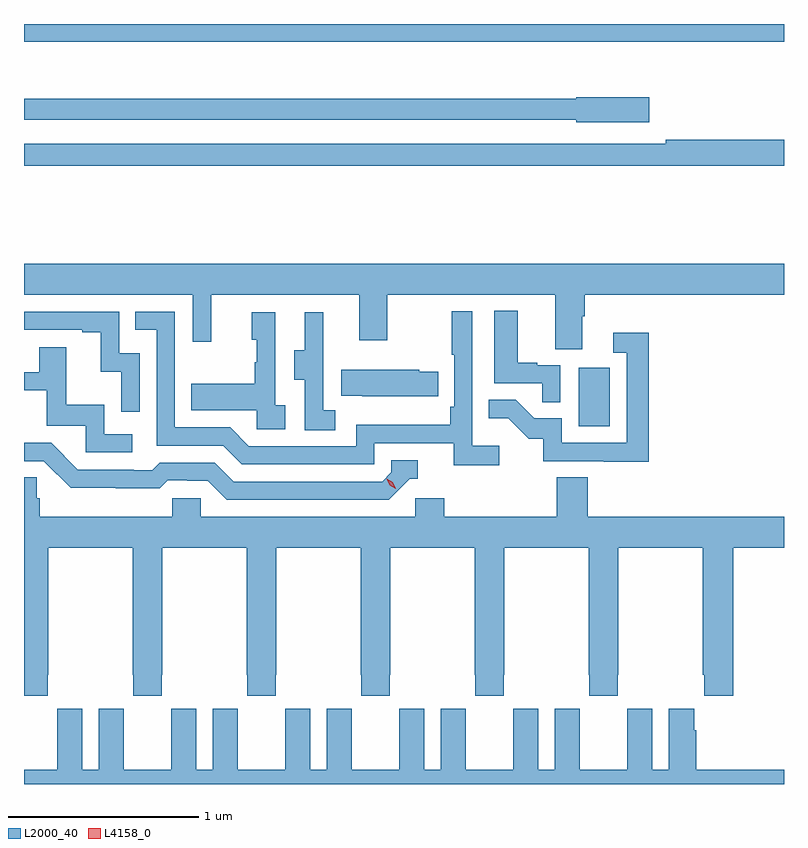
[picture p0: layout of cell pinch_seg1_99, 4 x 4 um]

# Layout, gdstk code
import gdstk
lib = gdstk.Library(unit=1e-6, precision=1e-09)
def R(c, l, rs):  # rectangles x0, y0, x1, y1
    for r in rs: c.add(gdstk.rectangle(r[:2], r[2:], *l))
def P(c, l, *ps):  # polygons
    for p in ps: c.add(gdstk.Polygon(p, *l))
L2000_40 = (2000, 40)
L4158_0 = (4158, 0)

pinch_seg1_99 = lib.new_cell('pinch_seg1_99')
R(pinch_seg1_99, L2000_40, [(1049.588,544.38,1049.752,544.687), (1046.668,546.404,1050.668,546.497)])
P(pinch_seg1_99, L2000_40, [(1049.959,546.111),(1049.574,546.111),(1049.574,546.103),(1046.668,546.103),(1046.668,545.994),(1049.574,545.994),(1049.574,545.981),(1049.959,545.981)],
  [(1050.668,545.888),(1050.046,545.888),(1050.046,545.868),(1046.668,545.868),(1046.668,545.752),(1050.668,545.752)],
  [(1049.605,544.96),(1049.618,544.96),(1049.618,545.072),(1050.668,545.072),(1050.668,545.236),(1046.668,545.236),(1046.668,545.072),(1047.555,545.072),(1047.555,544.824),(1047.653,544.824),(1047.653,545.072),(1048.433,545.072),(1048.433,544.833),(1048.581,544.833),(1048.581,545.072),(1049.465,545.072),(1049.465,544.786),(1049.605,544.786)],
  [(1049.49,544.701),(1049.369,544.701),(1049.369,544.714),(1049.266,544.714),(1049.266,544.987),(1049.144,544.987),(1049.144,544.605),(1049.395,544.605),(1049.395,544.507),(1049.49,544.507)],
  [(1049.17,544.276),(1049.028,544.276),(1049.028,544.984),(1048.92,544.984),(1048.92,544.756),(1048.932,544.756),(1048.932,544.483),(1048.912,544.483),(1048.912,544.387),(1048.416,544.387),(1048.416,544.275),(1047.852,544.275),(1047.753,544.374),(1047.462,544.374),(1047.462,544.983),(1047.253,544.983),(1047.253,544.887),(1047.366,544.887),(1047.366,544.278),(1047.716,544.278),(1047.815,544.179),(1048.512,544.179),(1048.512,544.29),(1048.931,544.29),(1048.931,544.174),(1049.17,544.174)],
  [(1047.276,544.764),(1047.168,544.764),(1047.168,544.983),(1046.668,544.983),(1046.668,544.887),(1046.975,544.887),(1046.975,544.875),(1047.071,544.875),(1047.071,544.667),(1047.18,544.667),(1047.18,544.455),(1047.276,544.455)],
  [(1048.042,544.49),(1047.99,544.49),(1047.99,544.981),(1047.866,544.981),(1047.866,544.836),(1047.892,544.836),(1047.892,544.718),(1047.882,544.718),(1047.882,544.603),(1047.547,544.603),(1047.547,544.463),(1047.894,544.463),(1047.894,544.365),(1048.042,544.365)],
  [(1048.305,544.463),(1048.242,544.463),(1048.242,544.767),(1048.244,544.767),(1048.244,544.981),(1048.145,544.981),(1048.145,544.779),(1048.091,544.779),(1048.091,544.624),(1048.146,544.624),(1048.146,544.36),(1048.305,544.36)],
  [(1049.957,544.873),(1049.769,544.873),(1049.769,544.767),(1049.841,544.767),(1049.841,544.293),(1049.499,544.293),(1049.499,544.422),(1049.354,544.422),(1049.256,544.52),(1049.113,544.52),(1049.113,544.421),(1049.217,544.421),(1049.324,544.314),(1049.401,544.314),(1049.401,544.197),(1049.719,544.197),(1049.719,544.192),(1049.957,544.192)],
  [(1047.238,544.338),(1047.09,544.338),(1047.09,544.492),(1046.891,544.492),(1046.891,544.795),(1046.747,544.795),(1046.747,544.665),(1046.668,544.665),(1046.668,544.569),(1046.789,544.569),(1046.789,544.383),(1046.994,544.383),(1046.994,544.242),(1047.238,544.242)],
  [(1048.847,544.668),(1048.749,544.668),(1048.749,544.678),(1048.339,544.678),(1048.339,544.541),(1048.447,544.541),(1048.447,544.538),(1048.847,544.538)],
  [(1048.698,544.104),(1048.741,544.104),(1048.741,544.2),(1048.602,544.2),(1048.602,544.137),(1048.554,544.089),(1047.771,544.089),(1047.672,544.188),(1047.383,544.188),(1047.344,544.149),(1047.245,544.149),(1047.245,544.152),(1046.952,544.152),(1046.811,544.293),(1046.668,544.293),(1046.668,544.197),(1046.772,544.197),(1046.914,544.055),(1047.15,544.055),(1047.15,544.053),(1047.383,544.053),(1047.425,544.095),(1047.528,544.095),(1047.528,544.092),(1047.635,544.092),(1047.734,543.993),(1048.587,543.993)],
  [(1046.793,543.073),(1046.796,543.073),(1046.796,543.74),(1047.241,543.74),(1047.241,543.073),(1047.243,543.073),(1047.243,542.961),(1047.393,542.961),(1047.393,543.073),(1047.396,543.073),(1047.396,543.74),(1047.841,543.74),(1047.841,543.073),(1047.843,543.073),(1047.843,542.961),(1047.993,542.961),(1047.993,543.073),(1047.996,543.073),(1047.996,543.74),(1048.441,543.74),(1048.441,543.073),(1048.443,543.073),(1048.443,542.961),(1048.593,542.961),(1048.593,543.073),(1048.596,543.073),(1048.596,543.74),(1049.041,543.74),(1049.041,543.073),(1049.043,543.073),(1049.043,542.961),(1049.193,542.961),(1049.193,543.073),(1049.196,543.073),(1049.196,543.74),(1049.641,543.74),(1049.641,543.073),(1049.643,543.073),(1049.643,542.961),(1049.793,542.961),(1049.793,543.073),(1049.796,543.073),(1049.796,543.74),(1050.241,543.74),(1050.241,543.073),(1050.247,543.073),(1050.247,542.961),(1050.401,542.961),(1050.401,543.74),(1050.668,543.74),(1050.668,543.904),(1049.636,543.904),(1049.636,544.112),(1049.471,544.112),(1049.471,543.904),(1048.88,543.904),(1048.88,544.002),(1048.728,544.002),(1048.728,543.904),(1047.597,543.904),(1047.597,544.002),(1047.447,544.002),(1047.447,543.904),(1046.75,543.904),(1046.75,544.002),(1046.735,544.002),(1046.735,544.112),(1046.668,544.112),(1046.668,542.961),(1046.793,542.961)],
  [(1050.668,542.572),(1050.206,542.572),(1050.206,542.78),(1050.196,542.78),(1050.196,542.893),(1050.062,542.893),(1050.062,542.572),(1049.974,542.572),(1049.974,542.893),(1049.844,542.893),(1049.844,542.78),(1049.843,542.78),(1049.843,542.572),(1049.593,542.572),(1049.593,542.78),(1049.592,542.78),(1049.592,542.893),(1049.462,542.893),(1049.462,542.572),(1049.374,542.572),(1049.374,542.893),(1049.244,542.893),(1049.244,542.78),(1049.243,542.78),(1049.243,542.572),(1048.993,542.572),(1048.993,542.78),(1048.992,542.78),(1048.992,542.893),(1048.862,542.893),(1048.862,542.572),(1048.774,542.572),(1048.774,542.893),(1048.644,542.893),(1048.644,542.78),(1048.643,542.78),(1048.643,542.572),(1048.393,542.572),(1048.393,542.78),(1048.392,542.78),(1048.392,542.893),(1048.262,542.893),(1048.262,542.572),(1048.174,542.572),(1048.174,542.893),(1048.044,542.893),(1048.044,542.78),(1048.043,542.78),(1048.043,542.572),(1047.793,542.572),(1047.793,542.78),(1047.792,542.78),(1047.792,542.893),(1047.662,542.893),(1047.662,542.572),(1047.574,542.572),(1047.574,542.893),(1047.444,542.893),(1047.444,542.78),(1047.443,542.78),(1047.443,542.572),(1047.193,542.572),(1047.193,542.78),(1047.192,542.78),(1047.192,542.893),(1047.062,542.893),(1047.062,542.572),(1046.974,542.572),(1046.974,542.893),(1046.844,542.893),(1046.844,542.78),(1046.843,542.78),(1046.843,542.572),(1046.668,542.572),(1046.668,542.497),(1050.668,542.497)])
P(pinch_seg1_99, L4158_0, [(1048.625,544.051),(1048.594,544.07),(1048.578,544.103),(1048.578,544.103),(1048.578,544.103),(1048.609,544.084),(1048.625,544.051),(1048.625,544.051)])

lib.write_gds('pinch_seg1_99.gds')
